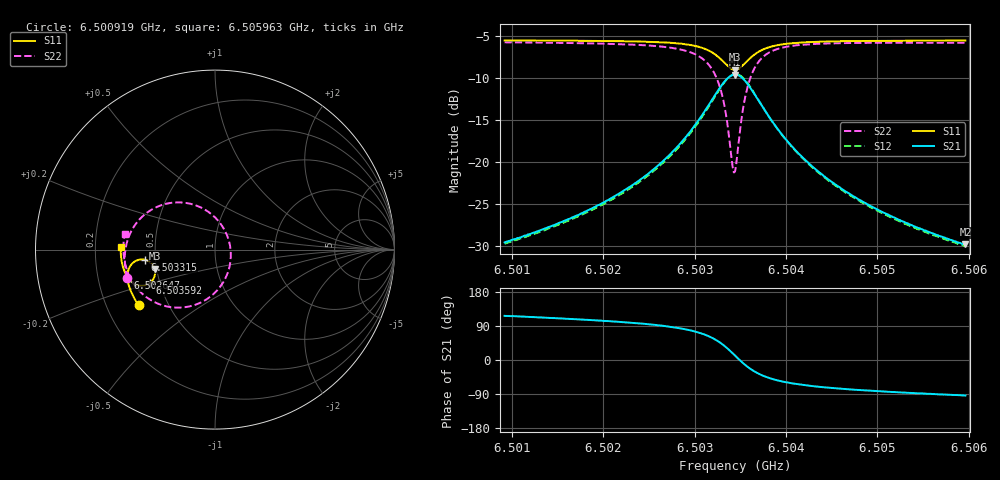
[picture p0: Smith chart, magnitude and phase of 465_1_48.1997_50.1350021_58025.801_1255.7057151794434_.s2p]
#  HZ  S  RI  R  50.00
! Rohde & Schwarz Vector Network Analyzer
! Rohde-Schwarz,ZNB20-2Port,1311601062101988,3.16
! Created: UTC 3/20/2024, 11:56:54 AM
! freq[Hz]  re:S11  im:S11  re:S21  im:S21  re:S12  im:S12  re:S22  im:S22
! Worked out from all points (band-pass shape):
!   401 points, 6.500919 GHz to 6.505963 GHz, reference 50 ohm
!   highest |S21| = -9.62 dB at 6.503441 GHz (marker M1); lowest = -29.8 dB at 6.505963 GHz (marker M2)
!   |S21| within 3 dB of the highest: 6.503189 GHz to 6.503694 GHz (504.3 kHz wide, 0.00775 % of centre)
!   lowest |S11| = -9.0 dB at 6.503441 GHz (marker M3), VSWR 2.09, Z = 24.3 - j5.87 ohm
!   |S11| at or under -10 dB: nowhere
!   |S22| runs from -21.2 to -5.8 dB; largest |S21 - S12| = 0.012
!   S11 on the Smith chart (normalised r, x): 6.500919 GHz: 0.34, -0.29; 6.502647 GHz: 0.33, -0.14; 6.503315 GHz: 0.44, -0.06; 6.503592 GHz: 0.44, -0.20; 6.505963 GHz: 0.31, +0.01
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6.5009192e9  -0.4254 -0.3099  -0.0148 0.0299  -0.0131 0.0299  -0.4884 -0.158
6.501764e9  -0.4618 -0.2477  -0.0144 0.0475  -0.0119 0.0471  -0.5022 -0.0687
6.5022179e9  -0.4779 -0.2077  -0.0115 0.0662  -0.00844 0.0653  -0.4998 -0.00487
6.5026088e9  -0.4873 -0.1648  -0.00245 0.0964  0.00139 0.094  -0.4802 0.0723
6.5026466e9  -0.4878 -0.1598  -0.000662 0.1005  0.00321 0.098  -0.4765 0.0818
6.502924e9  -0.4838 -0.117  0.0259 0.1429  0.0298 0.1385  -0.4213 0.1676
6.5031132e9  -0.4624 -0.0789  0.0799 0.1852  0.0827 0.1788  -0.3181 0.2403
6.5032266e9  -0.4298 -0.0582  0.1488 0.2027  0.1502 0.1962  -0.1937 0.2629
6.5033149e9  -0.3893 -0.0565  0.2285 0.1868  0.2294 0.1813  -0.0564 0.2229
6.5033527e9  -0.3699 -0.0641  0.265 0.1637  0.2662 0.1587  0.00384 0.1761
6.5034158e9  -0.3432 -0.091  0.3129 0.0999  0.3159 0.0943  0.0764 0.0529
6.503441e9  -0.3367 -0.1056  0.3234 0.0674  0.3267 0.061  0.0873 -0.00755
6.5034662e9  -0.3337 -0.1214  0.3271 0.0336  0.3306 0.026  0.0856 -0.0692
6.5035292e9  -0.3409 -0.1589  0.3088 -0.0447  0.3111 -0.0553  0.0299 -0.2052
6.5035923e9  -0.3623 -0.185  0.2659 -0.0992  0.2647 -0.111  -0.067 -0.2885
6.5036932e9  -0.402 -0.2003  0.1908 -0.1356  0.1852 -0.1454  -0.2177 -0.3231
6.5038571e9  -0.4483 -0.1907  0.1087 -0.1323  0.1015 -0.1377  -0.3653 -0.2764
6.5040336e9  -0.4758 -0.1692  0.0641 -0.1122  0.0577 -0.1147  -0.4378 -0.2115
6.5042858e9  -0.4965 -0.1391  0.034 -0.0878  0.029 -0.0886  -0.4813 -0.1391
6.5046388e9  -0.5112 -0.1022  0.0158 -0.0657  0.0123 -0.0654  -0.503 -0.0684
6.5051306e9  -0.5212 -0.0566  0.00513 -0.048  0.0027 -0.0473  -0.51 0.00139
6.5059628e9  -0.5259 0.0138  -0.00212 -0.0324  -0.00345 -0.0315  -0.5023 0.0894
